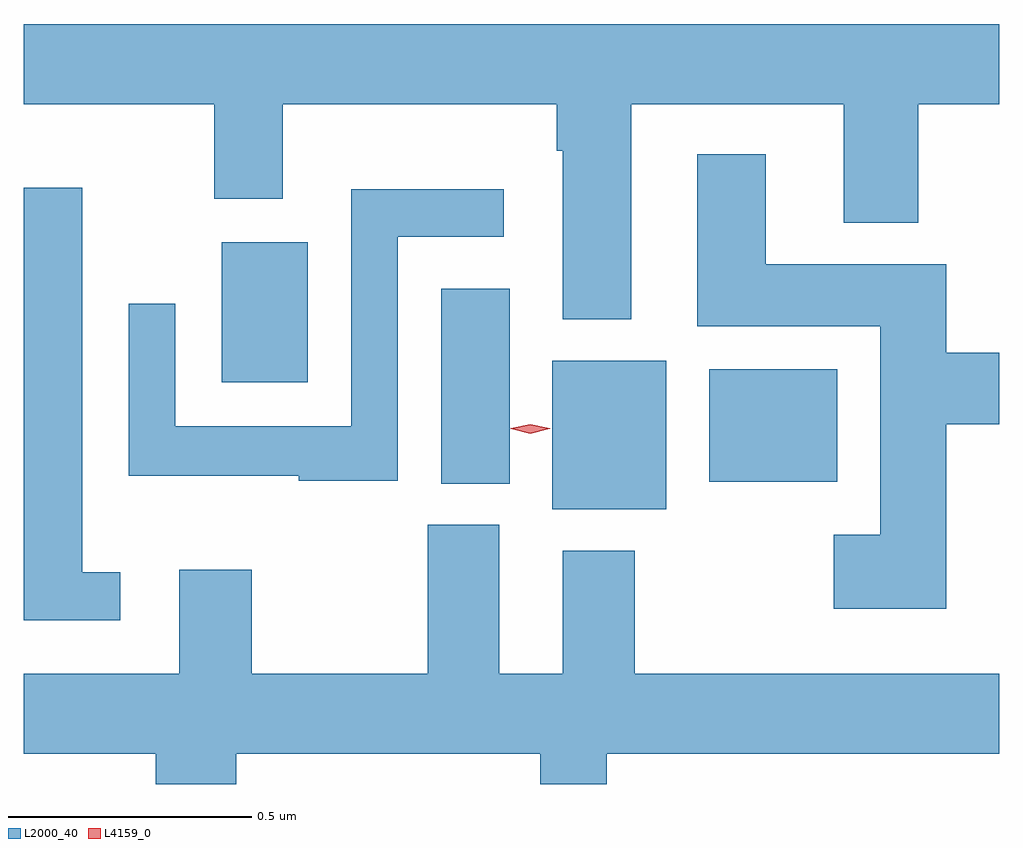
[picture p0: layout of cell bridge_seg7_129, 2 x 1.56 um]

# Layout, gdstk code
import gdstk
lib = gdstk.Library(unit=1e-6, precision=1e-09)
def R(c, l, rs):  # rectangles x0, y0, x1, y1
    for r in rs: c.add(gdstk.rectangle(r[:2], r[2:], *l))
def P(c, l, *ps):  # polygons
    for p in ps: c.add(gdstk.Polygon(p, *l))
L2000_40 = (2000, 40)
L4159_0 = (4159, 0)

bridge_seg7_129 = lib.new_cell('bridge_seg7_129')
R(bridge_seg7_129, L2000_40, [(795.836,1011.773,796.069,1012.078), (795.608,1011.826,795.748,1012.225), (796.157,1011.83,796.42,1012.06), (795.158,1012.034,795.334,1012.321)])
P(bridge_seg7_129, L2000_40, [(795.997,1012.604),(796.433,1012.604),(796.433,1012.361),(796.586,1012.361),(796.586,1012.604),(796.752,1012.604),(796.752,1012.768),(794.752,1012.768),(794.752,1012.604),(795.143,1012.604),(795.143,1012.41),(795.283,1012.41),(795.283,1012.604),(795.845,1012.604),(795.845,1012.508),(795.857,1012.508),(795.857,1012.163),(795.997,1012.163)],
  [(796.643,1011.947),(796.752,1011.947),(796.752,1012.094),(796.643,1012.094),(796.643,1012.276),(796.273,1012.276),(796.273,1012.501),(796.133,1012.501),(796.133,1012.148),(796.508,1012.148),(796.508,1011.721),(796.413,1011.721),(796.413,1011.569),(796.643,1011.569)],
  [(794.95,1011.644),(794.872,1011.644),(794.872,1012.432),(794.752,1012.432),(794.752,1011.546),(794.95,1011.546)],
  [(795.519,1012.332),(795.736,1012.332),(795.736,1012.429),(795.423,1012.429),(795.423,1011.943),(795.063,1011.943),(795.063,1012.195),(794.967,1012.195),(794.967,1011.842),(795.316,1011.842),(795.316,1011.832),(795.519,1011.832)],
  [(795.188,1011.272),(795.811,1011.272),(795.811,1011.21),(795.947,1011.21),(795.947,1011.272),(796.752,1011.272),(796.752,1011.436),(796.005,1011.436),(796.005,1011.688),(795.857,1011.688),(795.857,1011.436),(795.727,1011.436),(795.727,1011.741),(795.58,1011.741),(795.58,1011.436),(795.219,1011.436),(795.219,1011.649),(795.071,1011.649),(795.071,1011.436),(794.752,1011.436),(794.752,1011.272),(795.023,1011.272),(795.023,1011.21),(795.188,1011.21)])
P(bridge_seg7_129, L4159_0, [(795.79,1011.928),(795.75,1011.938),(795.75,1011.938),(795.75,1011.939),(795.79,1011.948),(795.83,1011.939),(795.831,1011.938),(795.83,1011.938)])

lib.write_gds('bridge_seg7_129.gds')
